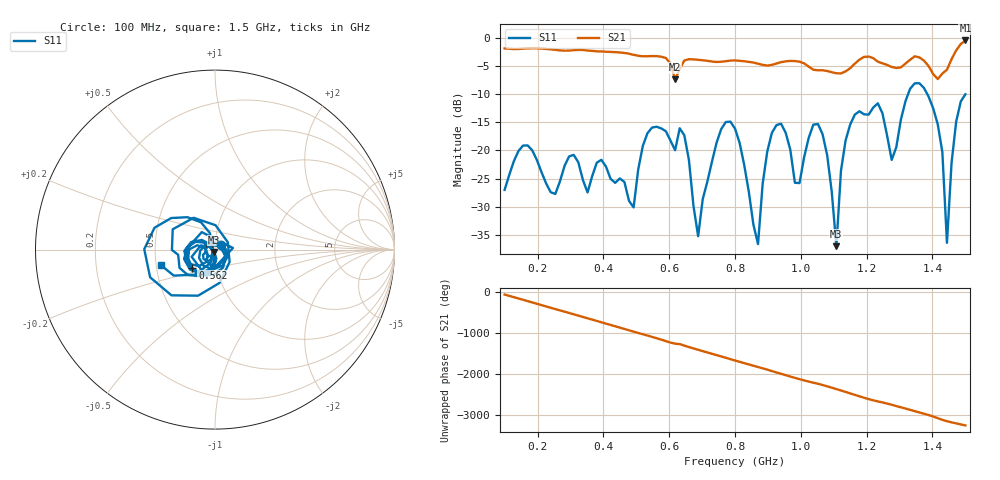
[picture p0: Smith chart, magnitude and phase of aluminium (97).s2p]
! NanoVNA-App
! Date: 2025-09-25 14:56:02
! Start: 100MHz Stop: 1,5GHz Points: 101
! S-Parameter data: F S11 S21 S12 S22
# Hz S RI R 50
!  Frequency  S11_Real  S11_Imag  S21_Real  S21_Imag  S12_Real  S12_Imag  S22_Real  S22_Imag
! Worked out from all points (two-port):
!   101 points, 100 MHz to 1.5 GHz, reference 50 ohm
!   highest |S21| = -0.51 dB at 1.5 GHz (marker M1); lowest = -7.4 dB at 618 MHz (marker M2)
!   |S21| within 3 dB of the highest: start of sweep to 583.3 MHz; 1.461 GHz to end of sweep (the widest 2 of 4)
!   lowest |S11| = -37.0 dB at 1.108 GHz (marker M3), VSWR 1.03, Z = 49.5 - j1.3 ohm
!   |S11| at or under -10 dB: start of sweep to 1.326 GHz; 1.384 GHz to end of sweep
!   S12 and S22 are empty: the file has one direction only
!   S11 on the Smith chart (normalised r, x): 100 MHz: 1.07, +0.06; 562 MHz: 0.76, -0.16; 1.5 GHz: 0.53, -0.10
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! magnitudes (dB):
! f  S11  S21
! 100 MHz  -27.0  -1.9
! 338 MHz  -25.3  -2.2
! 492 MHz  -30.1  -3.1
! 562 MHz  -15.8  -3.3
! 576 MHz  -16.1  -3.4
! 618 MHz  -20.0  -7.4
! 646 MHz  -17.3  -4.1
! 688 MHz  -35.2  -3.9
! 800 MHz  -16.1  -4.1
! 870 MHz  -36.6  -4.6
! 912 MHz  -16.9  -4.8
! 996 MHz  -25.8  -4.3
! 1.038 GHz  -15.4  -5.7
! 1.108 GHz  -37.0  -6.3
! 1.122 GHz  -23.6  -6.3
! 1.164 GHz  -13.7  -4.6
! 1.276 GHz  -21.7  -5.2
! 1.374 GHz  -8.9  -4.1
! 1.43 GHz  -20.3  -6.4
! 1.444 GHz  -36.4  -5.7
! 1.472 GHz  -14.9  -2.3
! 1.5 GHz  -10.1  -0.5
